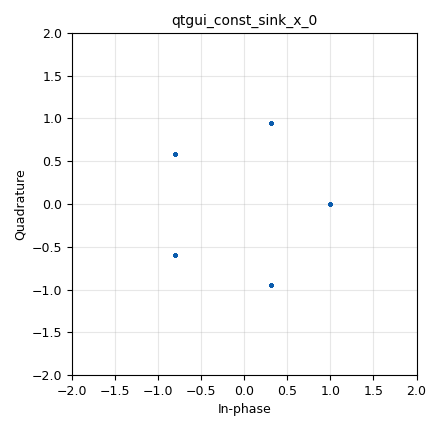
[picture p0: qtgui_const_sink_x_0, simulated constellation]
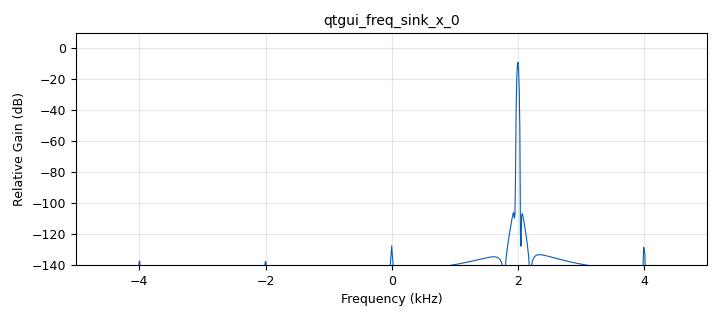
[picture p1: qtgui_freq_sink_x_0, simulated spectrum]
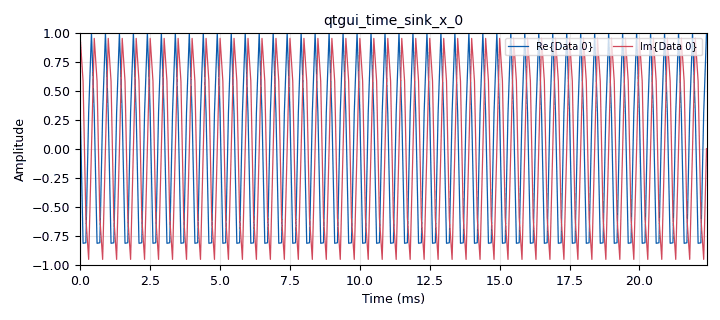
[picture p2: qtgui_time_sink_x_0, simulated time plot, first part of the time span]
options:
  parameters:
    generate_options: qt_gui
    id: ece531_opt
    output_language: python
    title: ece531_lab1a
  states: {}

blocks:
- name: freq
  id: variable
  parameters:
    value: '2000'
  states: {}
- name: magnitude
  id: variable_qtgui_range
  parameters:
    orient: Qt.Horizontal
    start: '0'
    step: '0.1'
    stop: '1'
    value: '0'
  states: {}
- name: phase
  id: variable_qtgui_range
  parameters:
    orient: Qt.Horizontal
    start: '0'
    step: '0.1'
    stop: '6.2'
    value: '0'
  states: {}
- name: samp_rate
  id: variable_qtgui_range
  parameters:
    orient: Qt.Horizontal
    start: '1000'
    step: '200'
    stop: '40000'
    value: '10000'
  states: {}
- name: analog_sig_source_x_0
  id: analog_sig_source_x
  parameters:
    amp: '1'
    freq: freq
    offset: '0'
    phase: '0'
    samp_rate: samp_rate
    type: complex
    waveform: analog.GR_SIN_WAVE
  states: {}
- name: blocks_throttle_0
  id: blocks_throttle
  parameters:
    samples_per_second: '32000'
    type: complex
  states: {}
- name: channels_iqbal_gen_0
  id: channels_iqbal_gen
  parameters:
    mag: magnitude
    mode: '0'
    phase: phase
  states: {}
- name: qtgui_const_sink_x_0
  id: qtgui_const_sink_x
  parameters:
    gui_hint: tabs@2
    size: '1024'
    type: complex
  states: {}
- name: qtgui_freq_sink_x_0
  id: qtgui_freq_sink_x
  parameters:
    bw: samp_rate
    fc: '0'
    fftsize: '1024'
    gui_hint: tabs@1
    type: complex
    wintype: firdes.WIN_BLACKMAN_hARRIS
  states: {}
- name: qtgui_time_sink_x_0
  id: qtgui_time_sink_x
  parameters:
    gui_hint: tabs@0
    size: '1024'
    srate: samp_rate
    type: complex
  states: {}
- name: tabs
  id: qtgui_tab_widget
  parameters:
    label0: Time
    label1: Frequency
    label2: Constellation
    num_tabs: '3'
  states: {}

connections:
- [analog_sig_source_x_0, '0', blocks_throttle_0, '0']
- [blocks_throttle_0, '0', channels_iqbal_gen_0, '0']
- [channels_iqbal_gen_0, '0', qtgui_const_sink_x_0, '0']
- [channels_iqbal_gen_0, '0', qtgui_freq_sink_x_0, '0']
- [channels_iqbal_gen_0, '0', qtgui_time_sink_x_0, '0']

metadata:
  file_format: 1
